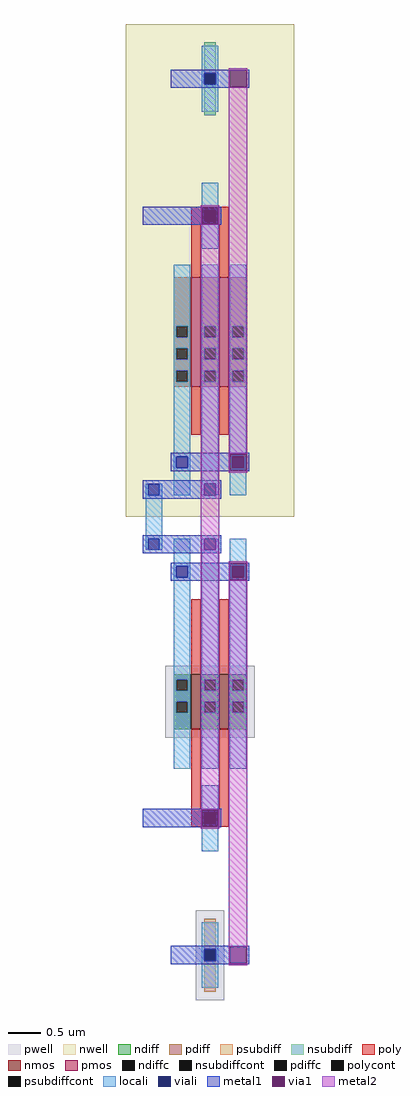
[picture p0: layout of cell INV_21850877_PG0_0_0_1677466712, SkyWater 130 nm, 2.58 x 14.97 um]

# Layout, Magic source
magic
tech sky130A
magscale 1 2
<< locali >>
rect 61 1579 69 1613
rect 103 1579 111 1613
rect 61 1445 111 1579
rect 61 1411 69 1445
rect 103 1411 111 1445
<< viali >>
rect 69 1579 103 1613
rect 69 1411 103 1445
<< metal1 >>
rect 226 2462 290 2464
rect 226 2410 232 2462
rect 284 2410 290 2462
rect 226 2408 290 2410
rect 52 1613 120 1624
rect 52 1579 69 1613
rect 103 1579 120 1613
rect 52 1568 120 1579
rect 52 1445 120 1456
rect 52 1411 69 1445
rect 103 1411 120 1445
rect 52 1400 120 1411
rect 226 614 290 616
rect 226 562 232 614
rect 284 562 290 614
rect 226 560 290 562
<< via1 >>
rect 232 2410 284 2462
rect 232 562 284 614
<< metal2 >>
rect 230 2462 286 2468
rect 230 2410 232 2462
rect 284 2410 286 2462
rect 230 614 286 2410
rect 230 562 232 614
rect 284 562 286 614
rect 230 556 286 562
use NMOS_S_25628869_X1_Y1_1677466711_1677466712  NMOS_S_25628869_X1_Y1_1677466711_1677466712_0
transform 1 0 0 0 -1 1512
box 52 56 395 1482
use PMOS_S_89421238_X1_Y1_1677466712_1677466712  PMOS_S_89421238_X1_Y1_1677466712_1677466712_0
transform 1 0 0 0 1 1512
box 0 0 516 1512
<< end >>

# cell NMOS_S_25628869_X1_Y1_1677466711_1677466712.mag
magic
tech sky130A
magscale 1 2
<< pwell >>
rect 215 1206 301 1482
rect 121 457 395 677
<< nmos >>
rect 200 483 230 651
rect 286 483 316 651
<< ndiff >>
rect 147 601 200 651
rect 147 567 155 601
rect 189 567 200 601
rect 147 533 200 567
rect 147 499 155 533
rect 189 499 200 533
rect 147 483 200 499
rect 230 601 286 651
rect 230 567 241 601
rect 275 567 286 601
rect 230 533 286 567
rect 230 499 241 533
rect 275 499 286 533
rect 230 483 286 499
rect 316 601 369 651
rect 316 567 327 601
rect 361 567 369 601
rect 316 533 369 567
rect 316 499 327 533
rect 361 499 369 533
rect 316 483 369 499
<< ndiffc >>
rect 155 567 189 601
rect 155 499 189 533
rect 241 567 275 601
rect 241 499 275 533
rect 327 567 361 601
rect 327 499 361 533
<< psubdiff >>
rect 241 1361 275 1456
rect 241 1232 275 1327
<< psubdiffcont >>
rect 241 1327 275 1361
<< poly >>
rect 200 941 316 951
rect 200 907 241 941
rect 275 907 316 941
rect 200 897 316 907
rect 200 651 230 897
rect 286 651 316 897
rect 200 252 230 483
rect 286 252 316 483
<< polycont >>
rect 241 907 275 941
<< locali >>
rect 233 1361 283 1445
rect 233 1327 241 1361
rect 275 1327 283 1361
rect 233 1243 283 1327
rect 233 941 283 1025
rect 233 907 241 941
rect 275 907 283 941
rect 233 823 283 907
rect 147 601 197 773
rect 147 567 155 601
rect 189 567 197 601
rect 147 533 197 567
rect 147 499 155 533
rect 189 499 197 533
rect 147 185 197 499
rect 147 151 155 185
rect 189 151 197 185
rect 147 67 197 151
rect 233 601 283 773
rect 233 567 241 601
rect 275 567 283 601
rect 233 533 283 567
rect 233 499 241 533
rect 275 499 283 533
rect 233 101 283 499
rect 233 67 241 101
rect 275 67 283 101
rect 319 601 369 773
rect 319 567 327 601
rect 361 567 369 601
rect 319 533 369 567
rect 319 499 327 533
rect 361 499 369 533
rect 319 185 369 499
rect 319 151 327 185
rect 361 151 369 185
rect 319 67 369 151
<< viali >>
rect 241 1327 275 1361
rect 241 907 275 941
rect 155 151 189 185
rect 241 67 275 101
rect 327 151 361 185
<< metal1 >>
rect 138 1370 378 1372
rect 138 1361 318 1370
rect 138 1327 241 1361
rect 275 1327 318 1361
rect 138 1318 318 1327
rect 370 1318 378 1370
rect 138 1316 378 1318
rect 52 941 292 952
rect 52 907 241 941
rect 275 907 292 941
rect 52 896 292 907
rect 138 194 378 196
rect 138 185 318 194
rect 138 151 155 185
rect 189 151 318 185
rect 138 142 318 151
rect 370 142 378 194
rect 138 140 378 142
rect 52 101 292 112
rect 52 67 241 101
rect 275 67 292 101
rect 52 56 292 67
<< via1 >>
rect 318 1318 370 1370
rect 318 185 370 194
rect 318 151 327 185
rect 327 151 361 185
rect 361 151 370 185
rect 318 142 370 151
<< metal2 >>
rect 316 1370 372 1376
rect 316 1318 318 1370
rect 370 1318 372 1370
rect 316 194 372 1318
rect 316 142 318 194
rect 370 142 372 194
rect 316 136 372 142
<< end >>

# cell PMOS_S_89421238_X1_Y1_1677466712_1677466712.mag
magic
tech sky130A
magscale 1 2
<< nwell >>
rect 0 0 516 1512
<< pmos >>
rect 200 399 230 735
rect 286 399 316 735
<< pdiff >>
rect 147 585 200 735
rect 147 551 155 585
rect 189 551 200 585
rect 147 517 200 551
rect 147 483 155 517
rect 189 483 200 517
rect 147 449 200 483
rect 147 415 155 449
rect 189 415 200 449
rect 147 399 200 415
rect 230 585 286 735
rect 230 551 241 585
rect 275 551 286 585
rect 230 517 286 551
rect 230 483 241 517
rect 275 483 286 517
rect 230 449 286 483
rect 230 415 241 449
rect 275 415 286 449
rect 230 399 286 415
rect 316 585 369 735
rect 316 551 327 585
rect 361 551 369 585
rect 316 517 369 551
rect 316 483 327 517
rect 361 483 369 517
rect 316 449 369 483
rect 316 415 327 449
rect 361 415 369 449
rect 316 399 369 415
<< pdiffc >>
rect 155 551 189 585
rect 155 483 189 517
rect 155 415 189 449
rect 241 551 275 585
rect 241 483 275 517
rect 241 415 275 449
rect 327 551 361 585
rect 327 483 361 517
rect 327 415 361 449
<< nsubdiff >>
rect 241 1361 275 1456
rect 241 1232 275 1327
<< nsubdiffcont >>
rect 241 1327 275 1361
<< poly >>
rect 200 941 316 951
rect 200 907 241 941
rect 275 907 316 941
rect 200 897 316 907
rect 200 735 230 897
rect 286 735 316 897
rect 200 252 230 399
rect 286 252 316 399
<< polycont >>
rect 241 907 275 941
<< locali >>
rect 233 1361 283 1445
rect 233 1327 241 1361
rect 275 1327 283 1361
rect 233 1243 283 1327
rect 233 941 283 1025
rect 233 907 241 941
rect 275 907 283 941
rect 233 823 283 907
rect 147 585 197 773
rect 147 551 155 585
rect 189 551 197 585
rect 147 517 197 551
rect 147 483 155 517
rect 189 483 197 517
rect 147 449 197 483
rect 147 415 155 449
rect 189 415 197 449
rect 147 185 197 415
rect 147 151 155 185
rect 189 151 197 185
rect 147 67 197 151
rect 233 585 283 773
rect 233 551 241 585
rect 275 551 283 585
rect 233 517 283 551
rect 233 483 241 517
rect 275 483 283 517
rect 233 449 283 483
rect 233 415 241 449
rect 275 415 283 449
rect 233 101 283 415
rect 233 67 241 101
rect 275 67 283 101
rect 319 585 369 773
rect 319 551 327 585
rect 361 551 369 585
rect 319 517 369 551
rect 319 483 327 517
rect 361 483 369 517
rect 319 449 369 483
rect 319 415 327 449
rect 361 415 369 449
rect 319 185 369 415
rect 319 151 327 185
rect 361 151 369 185
rect 319 67 369 151
<< viali >>
rect 241 1327 275 1361
rect 241 907 275 941
rect 155 151 189 185
rect 241 67 275 101
rect 327 151 361 185
<< metal1 >>
rect 138 1370 378 1372
rect 138 1361 318 1370
rect 138 1327 241 1361
rect 275 1327 318 1361
rect 138 1318 318 1327
rect 370 1318 378 1370
rect 138 1316 378 1318
rect 52 941 292 952
rect 52 907 241 941
rect 275 907 292 941
rect 52 896 292 907
rect 138 194 378 196
rect 138 185 318 194
rect 138 151 155 185
rect 189 151 318 185
rect 138 142 318 151
rect 370 142 378 194
rect 138 140 378 142
rect 52 101 292 112
rect 52 67 241 101
rect 275 67 292 101
rect 52 56 292 67
<< via1 >>
rect 318 1318 370 1370
rect 318 185 370 194
rect 318 151 327 185
rect 327 151 361 185
rect 361 151 370 185
rect 318 142 370 151
<< metal2 >>
rect 316 1370 372 1376
rect 316 1318 318 1370
rect 370 1318 372 1370
rect 316 194 372 1318
rect 316 142 318 194
rect 370 142 372 194
rect 316 136 372 142
<< end >>
